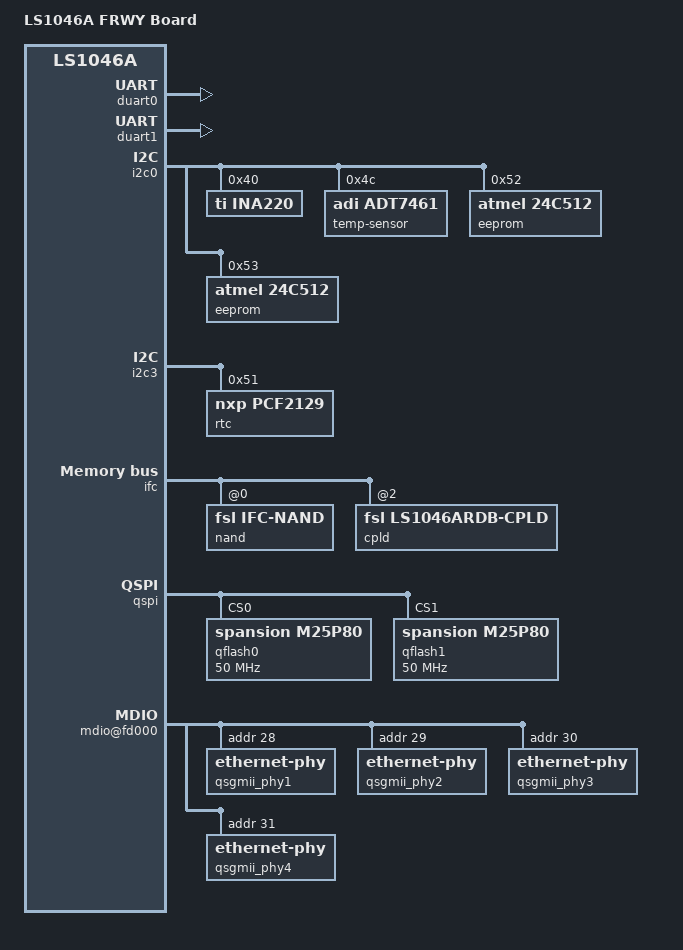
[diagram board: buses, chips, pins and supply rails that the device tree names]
// SPDX-License-Identifier: (GPL-2.0+ OR MIT)
/*
 * Device Tree Include file for Freescale Layerscape-1046A family SoC.
 *
 * Copyright 2019 NXP.
 *
 * Pramod Kumar <pramod.kumar_1@nxp.com>
 */

/dts-v1/;

#include "fsl-ls1046a.dtsi"

/ {
	model = "LS1046A FRWY Board";
	compatible = "fsl,ls1046a-rdb", "fsl,ls1046a";

	aliases {
		serial0 = &duart0;
		serial1 = &duart1;
		serial2 = &duart2;
		serial3 = &duart3;
	};

	chosen {
		stdout-path = "serial0:115200n8";
	};
};

&duart0 {
	status = "okay";
};

&duart1 {
	status = "okay";
};

&esdhc {
	mmc-hs200-1_8v;
	sd-uhs-sdr104;
	sd-uhs-sdr50;
	sd-uhs-sdr25;
	sd-uhs-sdr12;
};

&i2c0 {
	status = "okay";

	ina220@40 {
		compatible = "ti,ina220";
		reg = <0x40>;
		shunt-resistor = <1000>;
	};

	temp-sensor@4c {
		compatible = "adi,adt7461";
		reg = <0x4c>;
	};

	eeprom@56 {
		compatible = "atmel,24c512";
		reg = <0x52>;
	};

	eeprom@57 {
		compatible = "atmel,24c512";
		reg = <0x53>;
	};
};

&i2c3 {
	status = "okay";

	rtc@51 {
		compatible = "nxp,pcf2129";
		reg = <0x51>;
	};
};

&ifc {
	#address-cells = <2>;
	#size-cells = <1>;
	/* NAND Flashe and CPLD on board */
	ranges = <0x0 0x0 0x0 0x7e800000 0x00010000
		  0x2 0x0 0x0 0x7fb00000 0x00000100>;
	status = "okay";

	nand@0,0 {
		compatible = "fsl,ifc-nand";
		#address-cells = <1>;
		#size-cells = <1>;
		reg = <0x0 0x0 0x10000>;
	};

	cpld: board-control@2,0 {
		compatible = "fsl,ls1046ardb-cpld";
		reg = <0x2 0x0 0x0000100>;
	};
};

&qspi {
	num-cs = <2>;
	bus-num = <0>;
	status = "okay";
	fsl,qspi-has-second-chip;

	qflash0: s25fs512s@0 {
		compatible = "spansion,m25p80";
		#address-cells = <1>;
		#size-cells = <1>;
		spi-max-frequency = <50000000>;
		reg = <0>;
		spi-rx-bus-width = <4>;
		spi-tx-bus-width = <4>;
	};

	qflash1: s25fs512s@1 {
		compatible = "spansion,m25p80";
		#address-cells = <1>;
		#size-cells = <1>;
		spi-max-frequency = <50000000>;
		reg = <1>;
		spi-rx-bus-width = <4>;
		spi-tx-bus-width = <4>;
	};
};

#include "fsl-ls1046-post.dtsi"

&fman0 {
	ethernet@e0000 {
		phy-handle = <&qsgmii_phy4>;
		phy-connection-type = "qsgmii";
	};

	ethernet@e8000 {
		phy-handle = <&qsgmii_phy2>;
		phy-connection-type = "qsgmii";
	};

	ethernet@ea000 {
		phy-handle = <&qsgmii_phy1>;
		phy-connection-type = "qsgmii";
	};

	ethernet@f2000 {
		phy-handle = <&qsgmii_phy3>;
		phy-connection-type = "qsgmii";
	};

	mdio@fd000 {
		qsgmii_phy1: ethernet-phy@1c {
			reg = <0x1c>;
		};

		qsgmii_phy2: ethernet-phy@1d {
			reg = <0x1d>;
		};

		qsgmii_phy3: ethernet-phy@1e {
			reg = <0x1e>;
		};

		qsgmii_phy4: ethernet-phy@1f {
			reg = <0x1f>;
		};
	};
};
